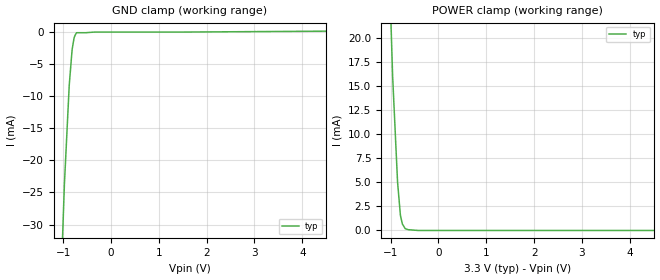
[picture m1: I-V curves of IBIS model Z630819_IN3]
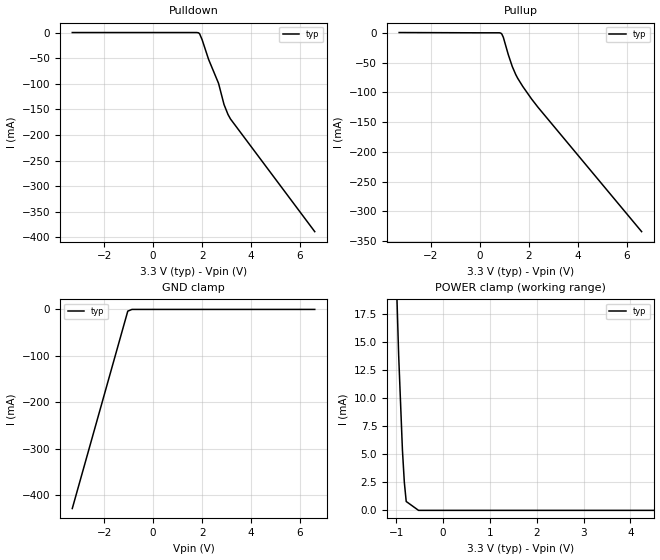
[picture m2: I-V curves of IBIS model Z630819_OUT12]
[IBIS Ver] 3.1
[File Name] nb100lvep221fa_33.ibs
[File Rev] 1.0
[Source] Derived from mc100lvep222fa_33.ibs
|   measured and created by ICX Technology
[Date] 1/7/2004
[Copyright]
| (C) COPYRIGHT 1993-2000
| MENTOR GRAPHICS CORPORATION
| ICX STANDARD LIBRARY, ICX PROJECT MODELING,
| ICX CUSTOM MODELING, ICX VENDOR MODEL
| ALL RIGHTS RESERVED.
| THE FOLLOWING ARE TRADEMARKS OR SERVICE MARKS OF
| MENTOR GRAPHICS CORPORATION:ICX (R), ICX STANDARD
| LIBRARY(R), ICX PROJECT MODELING(R), ICX CUSTOM
| MODELING(R), qualityIBIS(TM), MODELVIEWER(TM),
| AND MODELEDITOR(TM)
| ALL COPIES OF SOFTWARE, INCLUDING BUT NOT LIMITED TO
| ANY MODIFICATIONS, ENHANCEMENTS OR DERIVATIVE WORKS,
| MUST CONTAIN ALL MENTOR GRAPHICS CORPORATION'S
| NOTICES AND LEGENDS, INCLUDING THOSE EMBEDDED IN
| SOFTWARE AND THOSE AFFIXED TO SOFTWARE MEDIUM
| AND CONTAINER, AS RECEIVED FROM MENTOR GRAPHICS
| CORPORATION.
|  ZAP Model Builder 2.8
[Component] NB100LVEP222FA_33
[Manufacturer] ON
[Package]
| variable   typ   min   max
R_pkg  .091ohms NA NA
L_pkg  .367nH NA NA
C_pkg  .0523pF NA NA
[Pin] signal_name  model_name  R_pin  L_pin C_pin
1 VCCO POWER
2 VCC POWER
3 CLK_SEL Z630819_IN3
4 CLK0 Z630819_IN3
5 _CLK0 Z630819_IN3
6 VBB POWER
7 CLK1 Z630819_IN3
8 _CLK1 Z630819_IN3
9 VEE GND
10 _Q19 Z630819_OUT12
11 Q19 Z630819_OUT12
12 _Q18 Z630819_OUT12
13 Q18 Z630819_OUT12
14 VCCO POWER
15 _Q17 Z630819_OUT12
16 Q17 Z630819_OUT12
17 _Q16 Z630819_OUT12
18 Q16 Z630819_OUT12
19 _Q15 Z630819_OUT12
20 Q15 Z630819_OUT12
21 _Q14 Z630819_OUT12
22 Q14 Z630819_OUT12
23 _Q13 Z630819_OUT12
24 Q13 Z630819_OUT12
25 _Q12 Z630819_OUT12
26 Q12 Z630819_OUT12
27 VCCO POWER
28 _Q11 Z630819_OUT12
29 Q11 Z630819_OUT12
30 _Q10 Z630819_OUT12
31 Q10 Z630819_OUT12
32 _Q9 Z630819_OUT12
33 Q9 Z630819_OUT12
34 _Q8 Z630819_OUT12
35 Q8 Z630819_OUT12
36 _Q7 Z630819_OUT12
37 Q7 Z630819_OUT12
38 _Q6 Z630819_OUT12
39 Q6 Z630819_OUT12
40 VCCO POWER
41 _Q5 Z630819_OUT12
42 Q5 Z630819_OUT12
43 _Q4 Z630819_OUT12
44 Q4 Z630819_OUT12
45 _Q3 Z630819_OUT12
46 Q3 Z630819_OUT12
47 _Q2 Z630819_OUT12
48 Q2 Z630819_OUT12
49 _Q1 Z630819_OUT12
50 Q1 Z630819_OUT12
51 _Q0 Z630819_OUT12
52 Q0 Z630819_OUT12
[Diff Pin] inv_pin vdiff tdelay_typ tdelay_min tdelay_max
4 5 400mv NA NA NA
7 8 300mv NA NA NA
11 10 NA NA
13 12 NA NA
16 15 NA NA
18 17 NA NA
20 19 NA NA
22 21 NA NA
24 23 NA NA
26 25 NA NA
29 28 NA NA
31 30 NA NA
33 32 NA NA
35 34 NA NA
37 36 NA NA
39 38 NA NA
42 41 NA NA
44 43 NA NA
46 45 NA NA
48 47 NA NA
50 49 NA NA
52 51 NA NA
| Models and submodels in the file (2): Z630819_IN3 (Input_ECL), Z630819_OUT12 (Output_ECL)
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| Model Application Version 1.89 2/18/99.
[Model] Z630819_IN3
Model_type Input_ECL
Vinl = 1.675V
Vinh = 2.135V
C_comp 1.000pF NA NA
| variable typ   min   max
[Voltage Range] 3.300V NA NA
[GND Clamp Reference] 0.000V NA NA
[POWER Clamp Reference] 3.300V NA NA
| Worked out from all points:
|   GND clamp passes 1 mA (typ) near -0.77 V on its own axis
|   POWER clamp passes 1 mA (typ) near -0.77 V on its own axis
[GND Clamp]
-3.3V     -625.8mA   NA         NA
-1.095V   -49.9mA    NA         NA
-973mV    -23.8mA    NA         NA
-872mV    -8.3mA     NA         NA
-811mV    -2.7mA     NA         NA
-770mV    -900uA     NA         NA
-750mV    -500uA     NA         NA
-719.8mV  -100uA     NA         NA
-532.3mV  -100uA     NA         NA
-344.8mV  0A         NA         NA
1.449V    0A         NA         NA
6.6V      243.2uA    NA         NA
[POWER Clamp]
-3.3V     386.1mA    NA         NA
-957mV    15.97mA    NA         NA
-855mV    5.072mA    NA         NA
-795mV    1.575mA    NA         NA
-754mV    677uA      NA         NA
-693mV    179.9uA    NA         NA
-632mV    82.77uA    NA         NA
-421.3mV  0A         NA         NA
6.6V      0A         NA         NA
| Model Application Version 1.89 2/18/99.
[Model] Z630819_OUT12
Model_type Output_ECL
Vref=1.300V
Rref=50.00ohms
Cref=0.000F
Vmeas=1.900V
C_comp 1.000pF NA NA
| variable typ   min   max
[Voltage Range] 3.300V NA NA
[POWER Clamp Reference] 3.300V NA NA
[Pullup Reference] 3.300V NA NA
[Pulldown Reference] 3.300V NA NA
[GND Clamp Reference] 0.000V NA NA
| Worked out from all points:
|   GND clamp passes 1 mA (typ) near -0.91 V on its own axis
|   POWER clamp passes 1 mA (typ) near -0.79 V on its own axis
[GND Clamp]
-3.3V     -429.1mA   NA         NA
-1.034V   -3.713mA   NA         NA
-861.7mV  0A         NA         NA
6.6V      0A         NA         NA
[Pulldown]
-3.3V     0A         NA         NA
1.78V     0A         NA         NA
1.841V    -400uA     NA         NA
1.861V    -800uA     NA         NA
1.901V    -2.6mA     NA         NA
2.003V    -14.2mA    NA         NA
2.266V    -52.5mA    NA         NA
2.672V    -99.2mA    NA         NA
2.895V    -140.5mA   NA         NA
3.057V    -159.9mA   NA         NA
3.158V    -168.7mA   NA         NA
6.6V      -388.8mA   NA         NA
[Pullup]
-3.3V     450.5uA    NA         NA
852mV     -600uA     NA         NA
893mV     -2.1mA     NA         NA
954mV     -7.6mA     NA         NA
1.156V    -36.7mA    NA         NA
1.318V    -56.6mA    NA         NA
1.46V     -70.2mA    NA         NA
1.744V    -90mA      NA         NA
2.109V    -111.4mA   NA         NA
6.6V      -334.3mA   NA         NA
[POWER Clamp]
-3.3V     399.1mA    NA         NA
-1.073V   30.65mA    NA         NA
-952mV    13.87mA    NA         NA
-871mV    5.378mA    NA         NA
-830mV    2.484mA    NA         NA
-790mV    788.9uA    NA         NA
-526.7mV  0A         NA         NA
6.6V      0A         NA         NA
[Ramp]
| variable typ min max
dV/dt_r 479.4m/193.4p NA NA
dV/dt_f 479.4m/159.7p NA NA
R_load = 50.00Ohms
